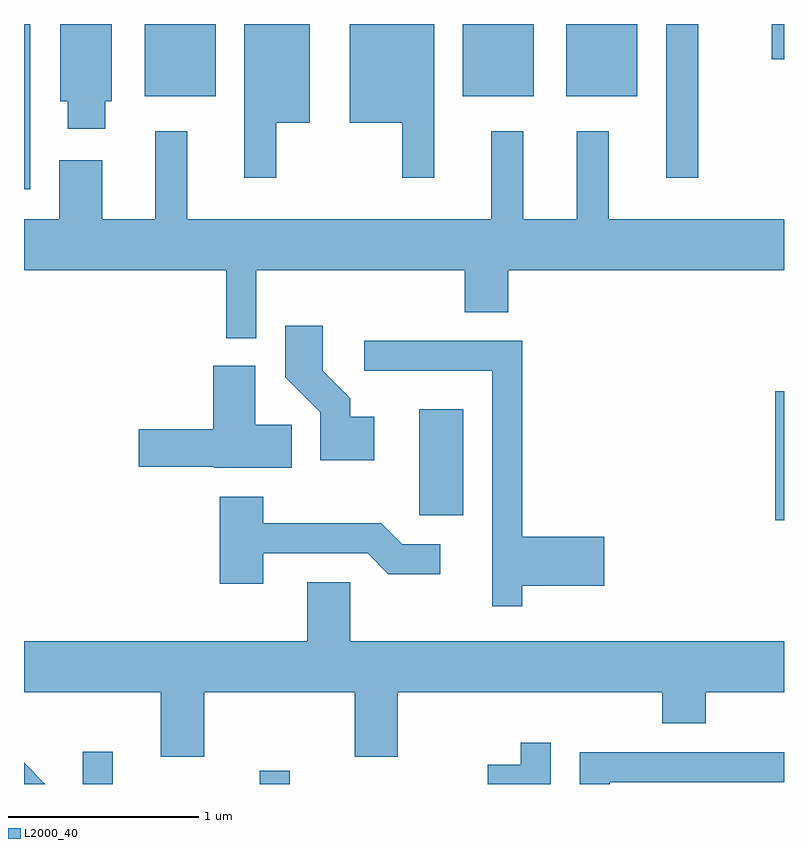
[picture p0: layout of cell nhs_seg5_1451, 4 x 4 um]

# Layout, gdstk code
import gdstk
lib = gdstk.Library(unit=1e-6, precision=1e-09)
def R(c, l, rs):  # rectangles x0, y0, x1, y1
    for r in rs: c.add(gdstk.rectangle(r[:2], r[2:], *l))
def P(c, l, *ps):  # polygons
    for p in ps: c.add(gdstk.Polygon(p, *l))
L2000_40 = (2000, 40)

nhs_seg5_1451 = lib.new_cell('nhs_seg5_1451')
R(nhs_seg5_1451, L2000_40, [(227.921,1474.072,228.079,1474.243), (228.851,1474.072,229.009,1474.143), (231.566,1475.461,231.611,1476.139), (229.691,1475.486,229.924,1476.044), (227.611,1477.201,227.644,1478.072), (230.991,1477.263,231.159,1478.072), (228.246,1477.691,228.619,1478.072), (229.921,1477.691,230.294,1478.072), (230.466,1477.691,230.839,1478.072), (231.546,1477.886,231.611,1478.072)])
P(nhs_seg5_1451, L2000_40, [(228.039,1477.666),(228.074,1477.666),(228.074,1478.072),(227.801,1478.072),(227.801,1477.666),(227.841,1477.666),(227.841,1477.521),(228.039,1477.521)],
  [(228.939,1477.551),(229.114,1477.551),(229.114,1478.072),(228.771,1478.072),(228.771,1477.263),(228.939,1477.263)],
  [(229.769,1478.072),(229.326,1478.072),(229.326,1477.551),(229.601,1477.551),(229.601,1477.263),(229.769,1477.263)],
  [(228.834,1476.776),(229.931,1476.776),(229.931,1476.556),(230.159,1476.556),(230.159,1476.776),(231.611,1476.776),(231.611,1477.044),(230.689,1477.044),(230.689,1477.508),(230.521,1477.508),(230.521,1477.044),(230.239,1477.044),(230.239,1477.508),(230.071,1477.508),(230.071,1477.044),(228.469,1477.044),(228.469,1477.508),(228.301,1477.508),(228.301,1477.044),(228.024,1477.044),(228.024,1477.354),(227.796,1477.354),(227.796,1477.044),(227.611,1477.044),(227.611,1476.776),(228.676,1476.776),(228.676,1476.418),(228.834,1476.418)],
  [(229.454,1476.004),(229.329,1476.004),(229.329,1476.102),(229.184,1476.247),(229.184,1476.484),(228.986,1476.484),(228.986,1476.214),(229.171,1476.029),(229.171,1475.776),(229.454,1475.776)],
  [(230.234,1475.116),(230.664,1475.116),(230.664,1475.374),(230.234,1475.374),(230.234,1476.404),(229.403,1476.404),(229.403,1476.246),(230.076,1476.246),(230.076,1475.008),(230.234,1475.008)],
  [(229.019,1475.964),(228.829,1475.964),(228.829,1476.274),(228.606,1476.274),(228.606,1475.939),(228.216,1475.939),(228.216,1475.741),(228.61,1475.741),(228.61,1475.736),(229.019,1475.736)],
  [(228.869,1475.286),(229.419,1475.286),(229.529,1475.176),(229.803,1475.176),(229.803,1475.334),(229.602,1475.334),(229.492,1475.444),(228.869,1475.444),(228.869,1475.584),(228.641,1475.584),(228.641,1475.126),(228.869,1475.126)],
  [(228.559,1474.556),(229.351,1474.556),(229.351,1474.216),(229.579,1474.216),(229.579,1474.556),(230.971,1474.556),(230.971,1474.391),(231.199,1474.391),(231.199,1474.556),(231.611,1474.556),(231.611,1474.824),(229.329,1474.824),(229.329,1475.134),(229.101,1475.134),(229.101,1474.824),(227.611,1474.824),(227.611,1474.556),(228.331,1474.556),(228.331,1474.216),(228.559,1474.216)],
  [(230.384,1474.288),(230.226,1474.288),(230.226,1474.174),(230.051,1474.174),(230.051,1474.072),(230.384,1474.072)],
  [(230.694,1474.081),(231.611,1474.081),(231.611,1474.239),(230.536,1474.239),(230.536,1474.072),(230.694,1474.072)],
  [(227.611,1474.185),(227.611,1474.072),(227.724,1474.072)])

lib.write_gds('nhs_seg5_1451.gds')
